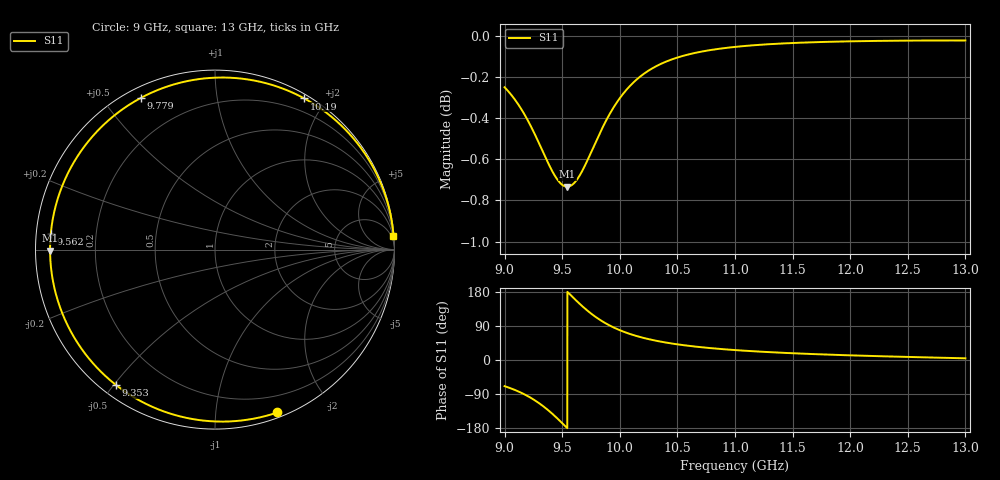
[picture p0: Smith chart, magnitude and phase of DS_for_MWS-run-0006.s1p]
! TOUCHSTONE file generated by CST DESIGN STUDIO
! Date and time: Wed Feb  5 13:46:37 2025
! Project name: C:\Work\MatlabApps\UnitCellOptimizationMatlab\CST\unitcell.cst
! Tree item: Tasks\Sweep1\SPara1\S-Parameters
! Header version: 2024
! Port assignment regex: !\s*Touchstone port\s*([0-9]+)\s*=\s*(CST MWS port|CST DES external port|CST DES block port)\s*(.+)\s* \(\"(.*)\"\)(\s*mode\s*([0-9]+))?.*
! Touchstone port assignment:
! Touchstone port 1 = CST DES external port 1 ("")
# GHz S MA R 50
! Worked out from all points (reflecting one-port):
!   4001 points, 9 GHz to 13 GHz, reference 50 ohm
!   lowest |S11| = -0.7 dB at 9.543 GHz (marker M1), VSWR 23.70, Z = 2.11 - j0.18 ohm
!   phase of S11 starts at -69 deg and turns -286 deg over the sweep
!   S11 on the Smith chart (normalised r, x): 9 GHz: 0.04, -1.45; 9.353 GHz: 0.04, -0.51; 9.562 GHz: 0.04, +0.05; 9.779 GHz: 0.04, +0.62; 10.19 GHz: 0.04, +1.75; 13 GHz: 1, +25
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9  0.9716 -69.0
9.1  0.964 -80.4
9.209  0.9529 -96.6
9.285  0.9435 -111.0
9.353  0.9345 -126.2
9.423  0.926 -144.4
9.463  0.9223 -155.7
9.5  0.92 -166.6
9.543  0.919 -179.6
9.562  0.9192 174.6
9.616  0.9217 158.5
9.677  0.9276 141.2
9.728  0.9339 128.0
9.779  0.9407 116.1
9.826  0.9469 106.3
9.877  0.9532 96.8
9.934  0.9595 87.7
10  0.9657 78.6
10.091  0.9725 68.4
10.191  0.9782 59.5
10.332  0.9837 49.8
10.5  0.9879 41.3
10.721  0.9914 33.3
11  0.9938 26.2
11.5  0.996 17.8
12  0.9969 12.3
12.5  0.9973 8.1
13  0.9974 4.5
